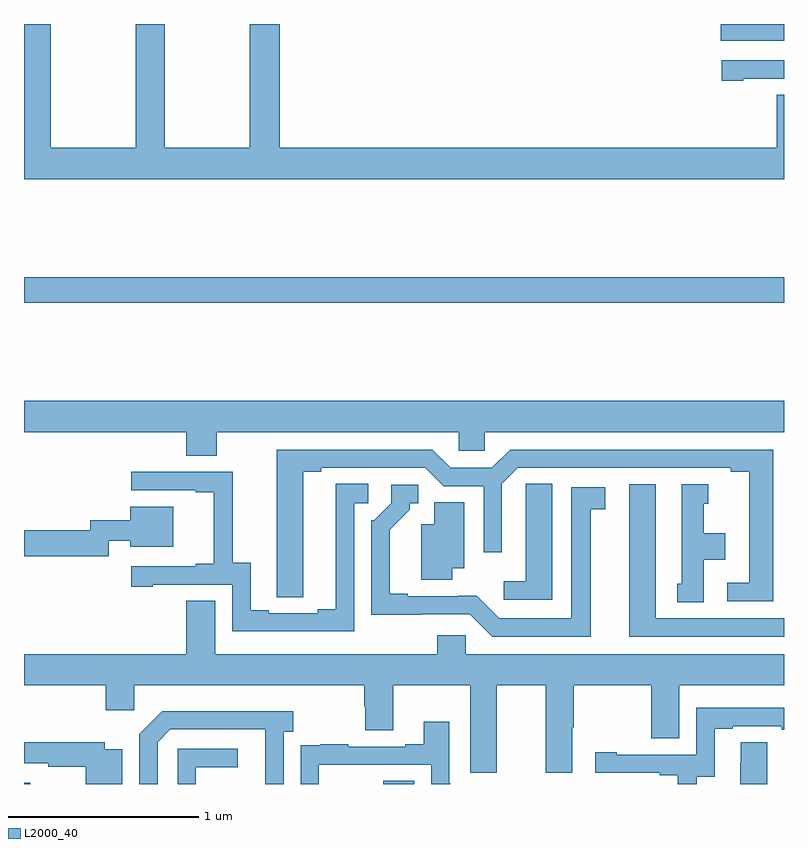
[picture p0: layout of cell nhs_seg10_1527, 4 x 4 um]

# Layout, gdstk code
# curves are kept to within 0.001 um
import gdstk
lib = gdstk.Library(unit=1e-6, precision=1e-09)
def R(c, l, rs):  # rectangles x0, y0, x1, y1
    for r in rs: c.add(gdstk.rectangle(r[:2], r[2:], *l))
def P(c, l, *ps):  # polygons
    for p in ps: c.add(gdstk.Polygon(p, *l))
L2000_40 = (2000, 40)

nhs_seg10_1527 = lib.new_cell('nhs_seg10_1527')
R(nhs_seg10_1527, L2000_40, [(191,1262.5,191.032,1262.506), (192.89,1262.5,193.054,1262.516), (191,1265.032,195,1265.168), (194.666,1266.413,195,1266.5)])
P(nhs_seg10_1527, L2000_40, [(195,1266.128),(194.963,1266.128),(194.963,1265.848),(192.347,1265.848),(192.347,1266.5),(192.187,1266.5),(192.187,1265.848),(191.742,1265.848),(191.742,1266.5),(191.587,1266.5),(191.587,1265.848),(191.142,1265.848),(191.142,1266.5),(191,1266.5),(191,1265.684),(195,1265.684)],
  [(194.785,1266.213),(195,1266.213),(195,1266.309),(194.673,1266.309),(194.673,1266.201),(194.785,1266.201)],
  [(192.015,1264.352),(193.287,1264.352),(193.287,1264.254),(193.425,1264.254),(193.425,1264.352),(195,1264.352),(195,1264.516),(191,1264.516),(191,1264.352),(191.855,1264.352),(191.855,1264.228),(192.015,1264.228)],
  [(194.944,1264.26),(193.559,1264.26),(193.463,1264.164),(193.245,1264.164),(193.149,1264.26),(192.329,1264.26),(192.33,1263.484),(192.469,1263.484),(192.469,1264.144),(192.565,1264.144),(192.565,1264.164),(193.113,1264.164),(193.209,1264.068),(193.419,1264.068),(193.419,1263.72),(193.515,1263.72),(193.515,1264.08),(193.599,1264.164),(194.72,1264.164),(194.72,1264.144),(194.816,1264.144),(194.816,1263.558),(194.7,1263.558),(194.7,1263.462),(194.944,1263.462)],
  [(192.738,1263.978),(192.811,1263.978),(192.811,1264.079),(192.641,1264.079),(192.641,1263.419),(192.545,1263.419),(192.545,1263.399),(192.289,1263.399),(192.289,1263.414),(192.193,1263.414),(192.193,1263.665),(192.099,1263.665),(192.099,1264.143),(191.565,1264.143),(191.565,1264.047),(191.903,1264.047),(191.903,1264.035),(191.999,1264.035),(191.999,1263.658),(191.903,1263.658),(191.903,1263.645),(191.565,1263.645),(191.565,1263.537),(191.677,1263.537),(191.677,1263.549),(192.096,1263.549),(192.096,1263.303),(192.738,1263.303)],
  [(193.78,1264.079),(193.641,1264.079),(193.641,1263.971),(193.64,1263.971),(193.64,1263.568),(193.524,1263.568),(193.524,1263.471),(193.78,1263.471)],
  [(195,1263.372),(194.326,1263.372),(194.326,1264.078),(194.186,1264.078),(194.186,1263.276),(195,1263.276)],
  [(194.578,1263.68),(194.692,1263.68),(194.692,1263.82),(194.578,1263.82),(194.578,1263.975),(194.602,1263.975),(194.602,1264.078),(194.462,1264.078),(194.462,1263.555),(194.438,1263.555),(194.438,1263.457),(194.578,1263.457)],
  [(193.984,1263.946),(194.059,1263.946),(194.059,1264.062),(193.88,1264.062),(193.88,1263.372),(193.5,1263.372),(193.382,1263.49),(193.021,1263.489),(193.021,1263.502),(192.925,1263.502),(192.925,1263.838),(193.03,1263.943),(193.03,1263.978),(193.075,1263.978),(193.075,1264.074),(192.933,1264.074),(192.933,1263.978),(192.843,1263.888),(192.828,1263.888),(192.828,1263.392),(193.347,1263.393),(193.464,1263.276),(193.984,1263.276)],
  [(193.255,1263.635),(193.318,1263.635),(193.318,1263.983),(193.16,1263.983),(193.16,1263.868),(193.091,1263.868),(193.091,1263.574),(193.255,1263.574)],
  [(191.445,1263.779),(191.558,1263.779),(191.558,1263.749),(191.785,1263.749),(191.785,1263.958),(191.558,1263.958),(191.558,1263.889),(191.349,1263.889),(191.349,1263.836),(191,1263.836),(191,1263.7),(191.445,1263.7)],
  [(192.007,1263.464),(191.855,1263.464),(191.855,1263.184),(191,1263.184),(191,1263.02),(191.429,1263.02),(191.429,1262.889),(191.58,1262.889),(191.58,1263.02),(192.791,1263.02),(192.791,1262.907),(192.796,1262.907),(192.796,1262.782),(192.943,1262.782),(192.943,1263.02),(193.349,1263.02),(193.349,1262.559),(193.489,1262.559),(193.489,1263.02),(193.745,1263.02),(193.745,1262.559),(193.885,1262.559),(193.885,1262.798),(193.893,1262.798),(193.893,1263.02),(194.302,1263.02),(194.302,1262.74),(194.449,1262.74),(194.449,1263.02),(195,1263.02),(195,1263.184),(193.326,1263.184),(193.326,1263.282),(193.175,1263.282),(193.175,1263.184),(192.007,1263.184)],
  [(194.541,1262.539),(194.635,1262.539),(194.635,1262.79),(194.731,1262.79),(194.731,1262.805),(194.987,1262.805),(194.987,1262.785),(195,1262.785),(195,1262.901),(194.538,1262.901),(194.538,1262.655),(194.119,1262.655),(194.119,1262.668),(194.007,1262.668),(194.007,1262.559),(194.345,1262.559),(194.345,1262.547),(194.441,1262.547),(194.441,1262.5),(194.541,1262.5)],
  [(191.703,1262.721),(191.769,1262.787),(192.269,1262.787),(192.27,1262.5),(192.366,1262.5),(192.366,1262.774),(192.418,1262.774),(192.418,1262.884),(191.728,1262.884),(191.607,1262.763),(191.607,1262.5),(191.703,1262.5)],
  [(192.552,1262.601),(193.143,1262.601),(193.143,1262.5),(193.244,1262.5),(193.244,1262.504),(193.239,1262.504),(193.239,1262.827),(193.103,1262.827),(193.103,1262.71),(193.007,1262.71),(193.007,1262.697),(192.707,1262.697),(192.707,1262.71),(192.559,1262.71),(192.559,1262.703),(192.457,1262.703),(192.457,1262.594),(192.456,1262.594),(192.456,1262.5),(192.552,1262.5)],
  [(194.911,1262.72),(194.772,1262.72),(194.772,1262.612),(194.771,1262.612),(194.771,1262.5),(194.911,1262.5)],
  [(191.518,1262.683),(191.424,1262.683),(191.424,1262.719),(191,1262.719),(191,1262.61),(191.128,1262.61),(191.128,1262.59),(191.326,1262.59),(191.326,1262.5),(191.518,1262.5)],
  [(191.904,1262.589),(192.124,1262.589),(192.124,1262.685),(191.808,1262.685),(191.808,1262.5),(191.904,1262.5)])

lib.write_gds('nhs_seg10_1527.gds')
